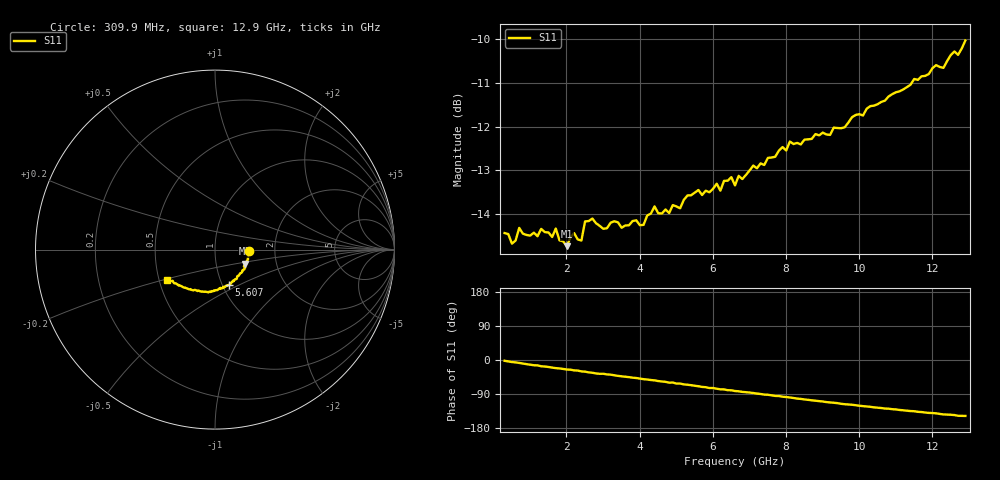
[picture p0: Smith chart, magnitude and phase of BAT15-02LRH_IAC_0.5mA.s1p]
! Infineon Technologies  Discrete & RF Semiconductors
! BAT15-02LRH
! IAC = 0.5 mA
! One-Port S-Parameters
# Hz  S  MA  R  50
!f  S11
!Hz  Mag  Ang
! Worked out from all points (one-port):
!   127 points, 309.9 MHz to 12.9 GHz, reference 50 ohm
!   lowest |S11| = -14.7 dB at 2.009 GHz (marker M1), VSWR 1.45, Z = 68.9 - j11.1 ohm
!   |S11| at or under -10 dB: start of sweep to end of sweep
!   S11 on the Smith chart (normalised r, x): 309.9 MHz: 1.47, -0.02; 5.607 GHz: 1.07, -0.44; 12.9 GHz: 0.55, -0.21
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3.0985e8  0.1898 -2.1
5.0975e8  0.1846 -5.4
7.0965e8  0.1924 -7.7
1.6092e9  0.1879 -20.0
1.70915e9  0.1921 -21.4
1.90905e9  0.1858 -23.5
2.009e9  0.1834 -25.1
2.2089e9  0.1898 -27.4
2.4088e9  0.1861 -30.1
2.50875e9  0.1958 -30.8
2.70865e9  0.1973 -33.7
3.0085e9  0.192 -36.3
3.30835e9  0.1958 -40.4
3.50825e9  0.1925 -43.1
4.10795e9  0.194 -50.6
4.4078e9  0.2036 -53.7
5.10745e9  0.2026 -62.2
5.6072e9  0.2126 -69.2
6.2069e9  0.2122 -77.4
6.50675e9  0.2199 -79.9
6.6067e9  0.2152 -81.9
6.70665e9  0.2207 -82.6
8.2059e9  0.24 -100.3
9.2054e9  0.2458 -112.0
9.8051e9  0.2575 -118.1
1.14043e10  0.2805 -134.7
1.230385e10  0.2932 -143.6
1.290355e10  0.3151 -147.6
